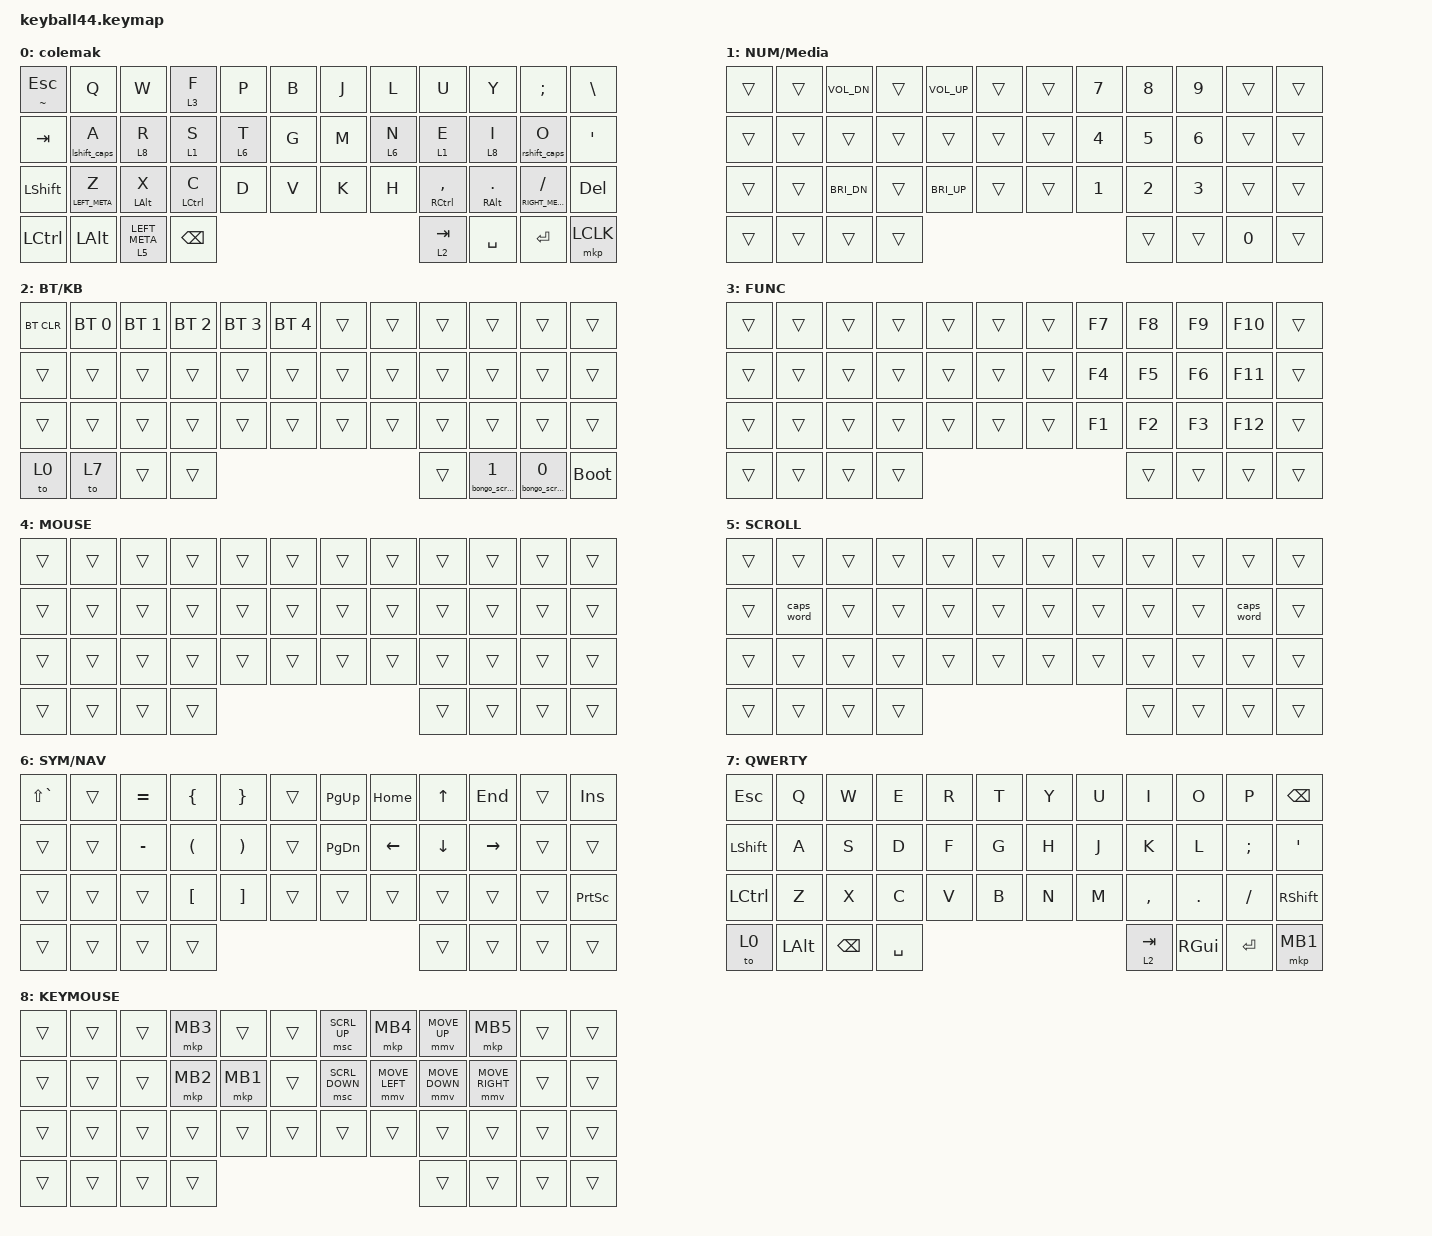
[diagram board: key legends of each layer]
#define DEFAULT 0
#define NUM     1
#define SYM     2
#define FUN     3
#define MOUSE   4
#define SCROLL  5
#define SNIPE   6

#include <behaviors/mouse_keys.dtsi>
#include <dt-bindings/zmk/mouse.h>
#include <behaviors.dtsi>
#include <dt-bindings/zmk/bt.h>
#include <dt-bindings/zmk/keys.h>
#include <dt-bindings/zmk/pointing.h>

&lt {
    tapping-term-ms = <240>;
    flavor = "balanced";
    quick-tap-ms = <150>;
};

&mt {
    tapping-term-ms = <200>;
    flavor = "tap-preferred";
    quick-tap-ms = <150>;
};

&caps_word { continue-list = <UNDERSCORE MINUS>; };

/ {
    // custom shift using mod-morph 

    behaviors {
        cmqus: comma_question {
            compatible = "zmk,behavior-mod-morph";
            label = "COMMA_QUESTION";
            #binding-cells = <0>;
            bindings = <&kp COMMA>, <&kp QUESTION>;

            mods = <(MOD_LSFT|MOD_RSFT)>;
        };

        dtsmi: dot_semi {
            compatible = "zmk,behavior-mod-morph";
            label = "DOT_SEMI";
            #binding-cells = <0>;
            bindings = <&kp DOT>, <&kp SEMI>;

            mods = <(MOD_LSFT|MOD_RSFT)>;
        };

        lshift_caps: lshift_caps {
            compatible = "zmk,behavior-mod-morph";
            label = "LSHIFT_CAPS";
            #binding-cells = <0>;
            bindings = <&kp LEFT_SHIFT>, <&caps_word>;
            mods = <(MOD_LSFT|MOD_RSFT)>;
        };

        rshift_caps: rshift_caps {
            compatible = "zmk,behavior-mod-morph";
            label = "RSHIFT_CAPS";
            #binding-cells = <0>;
            bindings = <&kp RIGHT_SHIFT>, <&caps_word>;
            mods = <(MOD_LSFT|MOD_RSFT)>;
        };

        a_ht: a_shift_ht {
            compatible = "zmk,behavior-hold-tap";
            #binding-cells = <2>;
            flavor = "balanced";
            tapping-term-ms = <180>;
            quick-tap-ms = <150>;
            bindings = <&lshift_caps>, <&kp>;
        };

        o_ht: o_shift_ht {
            compatible = "zmk,behavior-hold-tap";
            #binding-cells = <2>;
            flavor = "balanced";
            tapping-term-ms = <180>;
            quick-tap-ms = <150>;
            bindings = <&rshift_caps>, <&kp>;
        };

        bongo_screen: bongo_screen {
            compatible = "zmk,behavior-bongo-screen";
            label = "BONGO_SCREEN";
            #binding-cells = <1>;
        };

        battery_detail: battery_detail {
            compatible = "zmk,behavior-battery-detail";
            label = "BAT_DET";
            #binding-cells = <1>;
        };
    };

    keymap {
        compatible = "zmk,keymap";

        colemak {
            label = "colemak";
            bindings = <
&mt TILDE ESC   &kp Q             &kp W            &lt 3 F        &kp P      &kp B                 &kp J      &kp L    &kp U            &kp Y                 &kp SEMI              &kp BACKSLASH
&kp TAB         &a_ht 0 A         &lt 8 R          &lt 1 S        &lt 6 T    &kp G                 &kp M      &lt 6 N  &lt 1 E          &lt 8 I               &o_ht 0 O        &kp SQT
&kp LEFT_SHIFT  &mt LEFT_META Z   &mt LEFT_ALT X   &mt LCTRL C    &kp D      &kp V                 &kp K      &kp H    &mt RCTRL COMMA  &mt RIGHT_ALT PERIOD  &mt RIGHT_META SLASH  &kp DEL
&kp LCTRL       &kp LALT          &lt 5 LEFT_META  &kp BACKSPACE  &lt 2 TAB             &kp SPACE  &kp ENTER                                                                        &mkp LCLK
            >;
        };

        num-media {
            label = "NUM/Media";
            bindings = <
&trans  &trans  &kp C_VOL_DN  &trans  &kp C_VOL_UP  &trans              &trans  &kp N7  &kp N8  &kp N9  &trans  &trans
&trans  &trans  &trans        &trans  &trans        &trans              &trans  &kp N4  &kp N5  &kp N6  &trans  &trans
&trans  &trans  &kp C_BRI_DN  &trans  &kp C_BRI_UP  &trans              &trans  &kp N1  &kp N2  &kp N3  &trans  &trans
&trans  &trans  &trans        &trans  &trans                    &trans  &kp N0                                  &trans
            >;
        };

        BT-KBLayout {
            label = "BT/KB";
            bindings = <
&bt BT_CLR  &bt BT_SEL 0  &bt BT_SEL 1  &bt BT_SEL 2  &bt BT_SEL 3  &bt BT_SEL 4              &trans  &trans  &trans  &trans  &trans  &trans
&trans      &trans     &trans        &trans        &trans        &trans                    &trans  &trans  &trans  &trans  &trans  &trans
&trans      &trans        &trans        &trans        &trans        &trans                    &trans  &trans  &trans  &trans  &trans  &trans
&to 0       &to 7         &trans        &trans        &trans                          &bongo_screen 1  &bongo_screen 0                                  &bootloader
            >;
        };

        function_layer {
            label = "FUNC";
            bindings = <
&trans  &trans  &trans  &trans  &trans  &trans              &trans  &kp F7  &kp F8  &kp F9  &kp F10  &trans
&trans  &trans  &trans  &trans  &trans  &trans              &trans  &kp F4  &kp F5  &kp F6  &kp F11  &trans
&trans  &trans  &trans  &trans  &trans  &trans              &trans  &kp F1  &kp F2  &kp F3  &kp F12  &trans
&trans  &trans  &trans  &trans  &trans              &trans  &trans                                   &trans
            >;
        };

        mouse_layer {
            label = "MOUSE";
            bindings = <
&trans  &trans  &trans  &trans  &trans  &trans              &trans  &trans  &trans  &trans  &trans  &trans
&trans  &trans  &trans  &trans  &trans  &trans              &trans  &trans  &trans  &trans  &trans  &trans
&trans  &trans  &trans  &trans  &trans  &trans              &trans  &trans  &trans  &trans  &trans  &trans
&trans  &trans  &trans  &trans  &trans              &trans  &trans                                  &trans
            >;
        };

        scroll_layer {
            label = "SCROLL";
            bindings = <
&trans  &trans  &trans  &trans  &trans  &trans              &trans  &trans  &trans  &trans  &trans  &trans
&trans  &caps_word  &trans  &trans  &trans  &trans              &trans  &trans  &trans  &trans  &caps_word  &trans
&trans  &trans  &trans  &trans  &trans  &trans              &trans  &trans  &trans  &trans  &trans  &trans
&trans  &trans  &trans  &trans  &trans              &trans  &trans                                  &trans
            >;
        };

        SYMBOL-NAV {
            label = "SYM/NAV";
            bindings = <
&kp LS(GRAVE)  &trans  &kp EQUAL  &kp LEFT_BRACE    &kp RIGHT_BRACE    &trans              &kp PAGE_UP    &kp HOME  &kp UP    &kp END    &trans  &kp INSERT
&trans         &trans  &kp MINUS  &kp LPAR          &kp RPAR           &trans              &kp PAGE_DOWN  &kp LEFT  &kp DOWN  &kp RIGHT  &trans  &trans
&trans         &trans  &trans     &kp LEFT_BRACKET  &kp RIGHT_BRACKET  &trans              &trans         &trans    &trans    &trans     &trans  &kp PRINTSCREEN
&trans         &trans  &trans     &trans            &trans                         &trans  &trans                                                &trans
            >;
        };

        QWERTY {
            bindings = <
&kp ESC    &kp Q     &kp W     &kp E      &kp R      &kp T                &kp Y      &kp U  &kp I      &kp O    &kp P     &kp BSPC
&kp LSHFT  &kp A     &kp S     &kp D      &kp F      &kp G                &kp H      &kp J  &kp K      &kp L    &kp SEMI  &kp SQT
&kp LCTRL  &kp Z     &kp X     &kp C      &kp V      &kp B                &kp N      &kp M  &kp COMMA  &kp DOT  &kp FSLH  &kp RSHFT
&to 0      &kp LALT  &kp BSPC  &kp SPACE  &lt 2 TAB             &kp RGUI  &kp ENTER                                       &mkp MB1
            >;

            label = "QWERTY";
        };

        MOUSEKEYS {
            bindings = <
&trans  &trans  &trans  &mkp MB3  &trans    &trans              &msc SCRL_UP    &mkp MB4        &mmv MOVE_UP    &mkp MB5         &trans  &trans
&trans  &trans  &trans  &mkp MB2  &mkp MB1  &trans              &msc SCRL_DOWN  &mmv MOVE_LEFT  &mmv MOVE_DOWN  &mmv MOVE_RIGHT  &trans  &trans
&trans  &trans  &trans  &trans    &trans    &trans              &trans          &trans          &trans          &trans           &trans  &trans
&trans  &trans  &trans  &trans    &trans                &trans  &trans                                                                   &trans
            >;

            label = "KEYMOUSE";
        };
    };
};
